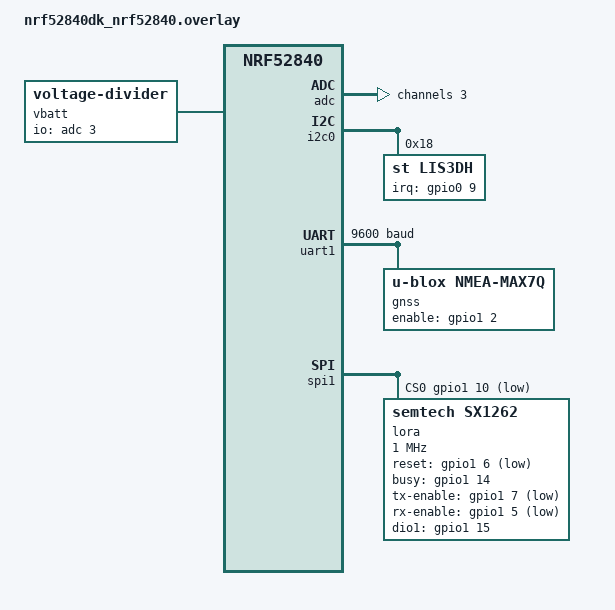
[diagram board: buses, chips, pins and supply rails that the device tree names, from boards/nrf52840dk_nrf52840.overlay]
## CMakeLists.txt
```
# SPDX-License-Identifier: Apache-2.0

cmake_minimum_required(VERSION 3.20.0)

find_package(Zephyr REQUIRED HINTS $ENV{ZEPHYR_BASE})
project(helium_mapper)

# Verify that this sample is built through sysbuild to ensure MCUboot is
# automatically included and that sample specific MCUboot configurations are
# used when building MCUboot.
test_sysbuild()

target_sources(                     app PRIVATE src/main.c)
target_sources(                     app PRIVATE src/config.c)
target_sources(                     app PRIVATE src/leds.c)
target_sources(                     app PRIVATE boards/board.c)
target_sources_ifdef(CONFIG_SENSOR          app PRIVATE src/accelerometer.c)
target_sources_ifdef(CONFIG_LORA            app PRIVATE src/lorawan_app.c)
target_sources_ifdef(CONFIG_BATTERY         app PRIVATE src/battery.c)
target_sources_ifdef(CONFIG_SETTINGS        app PRIVATE src/nvm.c)
target_sources_ifdef(CONFIG_SHELL           app PRIVATE src/shell.c)
target_sources_ifdef(CONFIG_BT              app PRIVATE src/ble.c)
target_sources_ifdef(CONFIG_UBLOX_MAX7Q     app PRIVATE src/gps.c)
target_sources_ifdef(CONFIG_GNSS            app PRIVATE src/gps_gnss.c)
target_sources_ifdef(CONFIG_PAYLOAD_ENCRYPTION     app PRIVATE src/encryption.c)

file(READ ${CMAKE_CURRENT_SOURCE_DIR}/../VERSION ver)

string(REGEX MATCH "VERSION_MAJOR = ([0-9]*)" _ ${ver})
set(APP_VERSION_MAJOR ${CMAKE_MATCH_1})

string(REGEX MATCH "VERSION_MINOR = ([0-9]*)" _ ${ver})
set(APP_VERSION_MINOR ${CMAKE_MATCH_1})

string(REGEX MATCH "VERSION_PATCH = ([0-9]*)" _ ${ver})
set(APP_VERSION_PATCH ${CMAKE_MATCH_1})

if(NOT DEFINED BUILD_VERSION)
  find_package(Git QUIET)
  if(GIT_FOUND)
    execute_process(
      COMMAND ${GIT_EXECUTABLE} describe --abbrev=12 --always
      WORKING_DIRECTORY                ${CMAKE_CURRENT_SOURCE_DIR}/../
      OUTPUT_VARIABLE                  BUILD_VERSION
      OUTPUT_STRIP_TRAILING_WHITESPACE
      ERROR_STRIP_TRAILING_WHITESPACE
      ERROR_VARIABLE                   stderr
      RESULT_VARIABLE                  return_code
    )
    if(return_code)
      message(STATUS "git describe failed: ${stderr}")
    elseif(NOT "${stderr}" STREQUAL "")
      message(STATUS "git describe warned: ${stderr}")
    endif()
  endif()
endif()

if(DEFINED BUILD_VERSION)
  set(APP_BUILD_VERSION_STR ", build: g${BUILD_VERSION}")
endif()

if (NOT NO_PRINT_VERSION)
  message(STATUS "App version: ${APP_VERSION_MAJOR}.${APP_VERSION_MINOR}.${APP_VERSION_PATCH} ${APP_BUILD_VERSION_STR}")
endif()

configure_file(app_version.h.in app_version.h)
target_include_directories(app PUBLIC "${PROJECT_BINARY_DIR}")
```

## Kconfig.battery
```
#
# SPDX-License-Identifier: Apache-2.0
#

config BATTERY
	bool "Enable battery voltage measure via ADC and R divider"
	select ADC
	help
	  Build support for battery voltage measure via ADC and R divider
```

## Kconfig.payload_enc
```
#
# SPDX-License-Identifier: Apache-2.0
#

config PAYLOAD_ENCRYPTION
	bool "Payload encryption support"
	select TINYCRYPT
	select TINYCRYPT_AES
	select TINYCRYPT_AES_CBC
	select TINYCRYPT_CTR_PRNG
	select ENTROPY
	select ENTROPY_GENERATOR
	help
	  Build with support for symmetric encryption of the LoraWan payload.
```

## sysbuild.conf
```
#
# Copyright (c) 2024 Nordic Semiconductor
#
# SPDX-License-Identifier: LicenseRef-Nordic-5-Clause
#

# Enable MCUboot per default for this sample.
SB_CONFIG_BOOTLOADER_MCUBOOT=y

SB_CONFIG_BOOT_SIGNATURE_TYPE_ED25519=y
SB_CONFIG_BOOT_SIGNATURE_TYPE_RSA=n
SB_CONFIG_BOOT_SIGNATURE_TYPE_NONE=n
SB_CONFIG_BOOT_SIGNATURE_TYPE_ECDSA_P256=n
```

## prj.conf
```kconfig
# SPDX-License-Identifier: Apache-2.0

CONFIG_LOG=y
CONFIG_SPI=y
CONFIG_GPIO=y
CONFIG_LORA=y
CONFIG_LORA_SX126X=y
CONFIG_LORAWAN=y
CONFIG_LORAMAC_REGION_EU868=y
CONFIG_MAIN_STACK_SIZE=2048
CONFIG_SYSTEM_WORKQUEUE_STACK_SIZE=2048
CONFIG_FLASH_MAP=y
CONFIG_FLASH=y
CONFIG_FLASH_PAGE_LAYOUT=y
CONFIG_SETTINGS=y
CONFIG_NVS=y

# Battery
CONFIG_BATTERY=y

## GPS
#CONFIG_UBLOX_MAX7Q=y
#CONFIG_MAX7Q_POWER_ENABLE=y
#CONFIG_UART_INTERRUPT_DRIVEN=y

# GNSS
CONFIG_GNSS=y
CONFIG_GNSS_SATELLITES=y
CONFIG_GNSS_NMEA_U_BLOX_MAX7Q=y
CONFIG_MAX7Q_POWER_ENABLE=y

CONFIG_SERIAL=y
CONFIG_CONSOLE=y
CONFIG_UART_CONSOLE=y
CONFIG_UART_LINE_CTRL=y

# Shell
CONFIG_SHELL=y
CONFIG_DATE_SHELL=y
CONFIG_DEVICE_SHELL=y
CONFIG_POSIX_TIMERS=y
CONFIG_SHELL_BACKEND_DUMMY=y

# Logging
CONFIG_LOG_CMDS=y
CONFIG_LOG_PROCESS_THREAD_STACK_SIZE=1024

# OS
CONFIG_REBOOT=y
CONFIG_HEAP_MEM_POOL_SIZE=2048

# MCUboot support
CONFIG_BOOTLOADER_MCUBOOT=y
CONFIG_IMG_MANAGER=y
CONFIG_STREAM_FLASH=y
CONFIG_MCUBOOT_IMG_MANAGER=y
CONFIG_MCUBOOT_SHELL=y

# Payload encryption
CONFIG_PAYLOAD_ENCRYPTION=y

CONFIG_PM_DEVICE=y
CONFIG_PM_DEVICE_RUNTIME=y
```

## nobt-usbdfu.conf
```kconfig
# SPDX-License-Identifier: Apache-2.0

CONFIG_LOG=y
CONFIG_SPI=y
CONFIG_GPIO=y
CONFIG_LORA=y
CONFIG_LORA_SX126X=y
CONFIG_LORAWAN=y
CONFIG_LORAMAC_REGION_EU868=y
CONFIG_MAIN_STACK_SIZE=2048
CONFIG_SYSTEM_WORKQUEUE_STACK_SIZE=2048
CONFIG_FLASH_MAP=y
CONFIG_FLASH=y
CONFIG_FLASH_PAGE_LAYOUT=y
CONFIG_SETTINGS=y
CONFIG_NVS=y

# Accelerometer
CONFIG_I2C=y
CONFIG_SENSOR=y
#CONFIG_CBPRINTF_FP_SUPPORT=y
CONFIG_LIS2DH_ODR_RUNTIME=y
CONFIG_LIS2DH_TRIGGER_OWN_THREAD=y
CONFIG_LIS2DH_OPER_MODE_LOW_POWER=y
CONFIG_LIS2DH_ACCEL_RANGE_2G=y
CONFIG_LIS2DH_ACCEL_HP_FILTERS=y
CONFIG_NFCT_PINS_AS_GPIOS=y

# Battery
CONFIG_ADC=y

# GPS
CONFIG_UBLOX_MAX7Q=y
CONFIG_MAX7Q_POWER_ENABLE=y
CONFIG_UART_INTERRUPT_DRIVEN=y

# USB CDC ACM UART
CONFIG_USB_DEVICE_STACK=y
CONFIG_USB_DEVICE_PRODUCT="Zephyr DFU Helium Mapper"
CONFIG_USB_CDC_ACM_LOG_LEVEL_WRN=y

CONFIG_SERIAL=y
CONFIG_CONSOLE=y
CONFIG_UART_CONSOLE=y
CONFIG_UART_LINE_CTRL=y

# Shell
CONFIG_SHELL=y
CONFIG_DATE_SHELL=y
CONFIG_POSIX_CLOCK=y
CONFIG_SHELL_BACKEND_DUMMY=y

# Logging
CONFIG_LOG_PROCESS_THREAD_STACK_SIZE=1024

# OS
CONFIG_REBOOT=y
CONFIG_HEAP_MEM_POOL_SIZE=2048

# MCUboot support
CONFIG_BOOTLOADER_MCUBOOT=y
CONFIG_IMG_MANAGER=y
CONFIG_STREAM_FLASH=y
CONFIG_MCUBOOT_IMG_MANAGER=y
CONFIG_MCUBOOT_SHELL=y

# DFU support
CONFIG_USB_DFU_CLASS=y
CONFIG_USB_DFU_ENABLE_UPLOAD=y
CONFIG_USB_DRIVER_LOG_LEVEL_ERR=y
CONFIG_USB_DEVICE_LOG_LEVEL_ERR=y
CONFIG_USB_DFU_REBOOT=y

# TODO: check if required
CONFIG_STDOUT_CONSOLE=y

# LoRaWan payload encryption.
CONFIG_PAYLOAD_ENCRYPTION=y
```

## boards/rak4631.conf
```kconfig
#
# USB CDC ACM UART
CONFIG_USB_DEVICE_STACK=y
CONFIG_USB_DEVICE_PRODUCT="Zephyr DFU Helium Mapper"
CONFIG_USB_CDC_ACM_LOG_LEVEL_OFF=y

# DFU support
CONFIG_USB_DFU_CLASS=y
CONFIG_USB_DFU_ENABLE_UPLOAD=y
CONFIG_USB_DRIVER_LOG_LEVEL_ERR=y
CONFIG_USB_DEVICE_LOG_LEVEL_ERR=y
CONFIG_USB_DFU_REBOOT=y

# Logging
CONFIG_LOG_BACKEND_UART=y
```

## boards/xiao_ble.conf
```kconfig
#
# USB CDC ACM UART
CONFIG_USB_DEVICE_STACK=y
CONFIG_USB_DEVICE_PRODUCT="Zephyr DFU Helium Mapper"
CONFIG_USB_CDC_ACM_LOG_LEVEL_OFF=y

# DFU support
CONFIG_USB_DFU_CLASS=y
CONFIG_USB_DFU_ENABLE_UPLOAD=y
CONFIG_USB_DRIVER_LOG_LEVEL_ERR=y
CONFIG_USB_DEVICE_LOG_LEVEL_ERR=y
CONFIG_USB_DFU_REBOOT=y
```

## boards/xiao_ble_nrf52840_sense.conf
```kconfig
#
# USB CDC ACM UART
CONFIG_USB_DEVICE_STACK=y
CONFIG_USB_DEVICE_PRODUCT="Zephyr DFU Helium Mapper"
CONFIG_USB_CDC_ACM_LOG_LEVEL_OFF=y

# DFU support
CONFIG_USB_DFU_CLASS=y
CONFIG_USB_DFU_ENABLE_UPLOAD=y
CONFIG_USB_DRIVER_LOG_LEVEL_ERR=y
CONFIG_USB_DEVICE_LOG_LEVEL_ERR=y
CONFIG_USB_DFU_REBOOT=y

# Accelerometer
CONFIG_I2C=y
CONFIG_SENSOR=y
#CONFIG_CBPRINTF_FP_SUPPORT=y
CONFIG_LSM6DSL_TRIGGER_OWN_THREAD=y
```

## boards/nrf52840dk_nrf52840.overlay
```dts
/*
 * SPDX-License-Identifier: Apache-2.0
 */

#include <zephyr/dt-bindings/lora/sx126x.h>

/ {
	chosen {
	};

	aliases {
		green-led = &led1;
		blue-led = &led2;
		accel0 = &lis3dh;
		gnss = &gnss;
		lora0 = &lora;
	};

	vbatt {
		compatible = "voltage-divider";
		io-channels = <&adc 3>;
		io-channel-names = "BATTERY";
		output-ohms = <1500000>;
		full-ohms = <(1000000 + 1500000)>;
	};
};

&adc {
	#address-cells = <1>;
	#size-cells = <0>;

	channel@3 {
		reg = <3>;
		zephyr,gain = "ADC_GAIN_1_5";
		zephyr,reference = "ADC_REF_INTERNAL";
		zephyr,acquisition-time = <ADC_ACQ_TIME(ADC_ACQ_TIME_MICROSECONDS, 40)>;
		zephyr,input-positive = <NRF_SAADC_AIN3>;
		zephyr,resolution = <14>;
		zephyr,oversampling = <8>;
	};
};

&i2c0 {
	status = "okay";

	/* ST Microelectronics LIS3DH motion sensor */
	lis3dh: lis3dh@18 {
		compatible = "st,lis3dh", "st,lis2dh";
		reg = <0x18>;
		irq-gpios = <&gpio0 9 GPIO_ACTIVE_HIGH>;
		anym-on-int1;
	};
};

&uart1 {
	compatible = "nordic,nrf-uarte";
	current-speed = <9600>;
	status = "okay";

	gnss: u_blox_max7q {
		compatible = "u-blox,nmea-max7q";
		enable-gpios = <&gpio1 2 GPIO_ACTIVE_HIGH>;
		status = "okay";
	};
};

&spi1 {
	compatible = "nordic,nrf-spi";
	status = "okay";
	cs-gpios = <&gpio1 10 GPIO_ACTIVE_LOW>;

	pinctrl-0 = <&spi1_default>;
	pinctrl-1 = <&spi1_sleep>;
	pinctrl-names = "default", "sleep";
	lora: lora@0 {
		compatible = "semtech,sx1262";
		reg = <0>;
		reset-gpios = <&gpio1 6 GPIO_ACTIVE_LOW>;
		busy-gpios = <&gpio1 14 GPIO_ACTIVE_HIGH>;
		tx-enable-gpios = <&gpio1 7 GPIO_ACTIVE_LOW>;
		rx-enable-gpios = <&gpio1 5 GPIO_ACTIVE_LOW>;
		dio1-gpios = <&gpio1 15 GPIO_ACTIVE_HIGH>;
		dio2-tx-enable;
		dio3-tcxo-voltage = <SX126X_DIO3_TCXO_3V3>;
		tcxo-power-startup-delay-ms = <5>;
		spi-max-frequency = <1000000>;
	};
};

/delete-node/ &boot_partition;
/delete-node/ &slot0_partition;
/delete-node/ &slot1_partition;

&flash0 {
	partitions {
		boot_partition: partition@0 {
			label = "mcuboot";
			reg = <0x00000000 0x00010000>;
		};
		slot0_partition: partition@10000 {
			label = "image-0";
			reg = <0x00010000 0x00072000>;
		};
		slot1_partition: partition@82000 {
			label = "image-1";
			reg = <0x00082000 0x00072000>;
		};
	};
};
```

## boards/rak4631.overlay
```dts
/*
 * SPDX-License-Identifier: Apache-2.0
 */

#include <zephyr/dt-bindings/lora/sx126x.h>

/ {
	chosen {
		/delete-property/ zephyr,uart-mcumgr;
		/* uart1 is used by GPS. */
		/delete-property/ zephyr,bt-mon-uart;
		/delete-property/ zephyr,bt-c2h-uart;

		zephyr,console = &cdc_acm_uart0;
		zephyr,shell-uart = &cdc_acm_uart0;
	};

	aliases {
		green-led = &green_led;
		blue-led = &blue_led;
		accel0 = &lis3dh;
		gps0 = &max7q;
		gnss = &gnss;
		lora0 = &lora;
	};

	vbatt {
		compatible = "voltage-divider";
		io-channels = <&adc 3>;
		io-channel-names = "BATTERY";
		output-ohms = <1500000>;
		full-ohms = <(1000000 + 1500000)>;
	};
};

&uicr {
	nfct-pins-as-gpios;
};

&adc {
	#address-cells = <1>;
	#size-cells = <0>;

	channel@3 {
		reg = <3>;
		zephyr,gain = "ADC_GAIN_1_5";
		zephyr,reference = "ADC_REF_INTERNAL";
		zephyr,acquisition-time = <ADC_ACQ_TIME(ADC_ACQ_TIME_MICROSECONDS, 40)>;
		zephyr,input-positive = <NRF_SAADC_AIN3>;
		zephyr,resolution = <14>;
		zephyr,oversampling = <8>;
	};
};

&i2c0 {
	/delete-property/ zephyr,pm-device-runtime-auto;
	status = "okay";

	/* ST Microelectronics LIS3DH motion sensor */
	lis3dh: lis3dh@18 {
		compatible = "st,lis3dh", "st,lis2dh";
		reg = <0x18>;
		irq-gpios = <&gpio0 9 GPIO_ACTIVE_HIGH>;
		anym-on-int1;
	};
};

&uart1 {
	compatible = "nordic,nrf-uarte";
	current-speed = <9600>;
	status = "okay";

	max7q: max7q {
		compatible = "u-blox,max7q";
		enable-gpios = <&gpio1 2 GPIO_ACTIVE_HIGH>;
		status = "okay";
	};

	gnss: u_blox_max7q {
		compatible = "u-blox,nmea-max7q";
		enable-gpios = <&gpio1 2 GPIO_ACTIVE_HIGH>;
		status = "okay";
	};
};

&zephyr_udc0 {
	cdc_acm_uart0: cdc_acm_uart0 {
		compatible = "zephyr,cdc-acm-uart";
	};
};

/delete-node/ &boot_partition;
/delete-node/ &slot0_partition;
/delete-node/ &slot1_partition;

&flash0 {
	partitions {
		boot_partition: partition@0 {
			label = "mcuboot";
			reg = <0x00000000 0x00010000>;
		};
		slot0_partition: partition@10000 {
			label = "image-0";
			reg = <0x00010000 0x00072000>;
		};
		slot1_partition: partition@82000 {
			label = "image-1";
			reg = <0x00082000 0x00072000>;
		};
	};
};
```

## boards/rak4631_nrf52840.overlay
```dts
/*
 * Copyright (c) 2019 Vestas Wind Systems A/S
 *
 * SPDX-License-Identifier: Apache-2.0
 */

/ {
	chosen {
		zephyr,console = &cdc_acm_uart0;
		zephyr,shell-uart = &cdc_acm_uart0;
	};

	aliases {
		green-led = &green_led;
		blue-led = &blue_led;
		accel0 = &lis3dh;
		gps0 = &max7q;
	};

	vbatt {
		compatible = "voltage-divider";
		io-channels = <&adc 3>;
		io-channel-names = "BATTERY";
		output-ohms = <1500000>;
		full-ohms = <(1000000 + 1500000)>;
	};
};

&adc {
	#address-cells = <1>;
	#size-cells = <0>;

	channel@3 {
		reg = <3>;
		zephyr,gain = "ADC_GAIN_1_5";
		zephyr,reference = "ADC_REF_INTERNAL";
		zephyr,acquisition-time = <ADC_ACQ_TIME(ADC_ACQ_TIME_MICROSECONDS, 40)>;
		zephyr,input-positive = <NRF_SAADC_AIN3>;
		zephyr,resolution = <14>;
		zephyr,oversampling = <8>;
	};
};

&i2c0 {
	status = "okay";

	/* ST Microelectronics LIS3DH motion sensor */
	lis3dh: lis3dh@18 {
		compatible = "st,lis3dh", "st,lis2dh";
		reg = <0x18>;
		irq-gpios = <&gpio0 9 GPIO_ACTIVE_HIGH>;
		anym-on-int1;
	};
};

&uart1 {
	compatible = "nordic,nrf-uarte";
	status = "okay";
	current-speed = <9600>;

	max7q: max7q {
		compatible = "u-blox,max7q";
		status = "okay";
		enable-gpios = <&gpio1 2 GPIO_ACTIVE_HIGH>;
	};
};

&zephyr_udc0 {
	cdc_acm_uart0: cdc_acm_uart0 {
		compatible = "zephyr,cdc-acm-uart";
	};
};

&boot_partition {
	reg = <0x00000000 0x00010000>;
};

&slot0_partition {
	reg = <0x00010000 0x00072000>;
};

&slot1_partition {
	reg = <0x00082000 0x00072000>;
};
```

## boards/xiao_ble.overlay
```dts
/*
 * SPDX-License-Identifier: Apache-2.0
 */

#include <zephyr/dt-bindings/lora/sx126x.h>

/ {
	chosen {
		/delete-property/ zephyr,uart-mcumgr;
		/delete-property/ zephyr,bt-mon-uart;
		/delete-property/ zephyr,bt-c2h-uart;

		zephyr,console = &cdc_acm_uart0;
		zephyr,shell-uart = &cdc_acm_uart0;
		zephyr,code-partition = &slot0_partition;
	};

	aliases {
		green-led = &led1;
		blue-led = &led2;
		//accel0 = &lis3dh;
		gps0 = &max7q;
		gnss = &gnss;
		lora0 = &lora;
	};

	vbatt {
		compatible = "voltage-divider";
		io-channels = <&adc 7>;
		io-channel-names = "BATTERY";
		output-ohms = <510000>;
		full-ohms = <(1000000 + 510000)>;
		power-gpios = <&gpio0 14 GPIO_ACTIVE_LOW>;
	};
};

&uicr {
	nfct-pins-as-gpios;
};

&adc {
	#address-cells = <1>;
	#size-cells = <0>;

	channel@7 {
		reg = <7>;
		zephyr,gain = "ADC_GAIN_1_5";
		zephyr,reference = "ADC_REF_INTERNAL";
		zephyr,acquisition-time = <ADC_ACQ_TIME(ADC_ACQ_TIME_MICROSECONDS, 40)>;
		zephyr,input-positive = <NRF_SAADC_AIN7>; // P0.31
		zephyr,resolution = <14>;
		zephyr,oversampling = <8>;
	};
};

&i2c0 {
	/delete-property/ zephyr,pm-device-runtime-auto;
	//status = "okay";
	status = "disabled";

	/* ST Microelectronics LIS3DH motion sensor */
/*
	lis3dh: lis3dh@18 {
		compatible = "st,lis3dh", "st,lis2dh";
		reg = <0x18>;
		irq-gpios = <&gpio0 9 GPIO_ACTIVE_HIGH>;
		anym-on-int1;
	};
*/
};

&i2c1 {
	/* Cannot be used together with spi1. */
	status = "disabled";
};

&uart0 {
	compatible = "nordic,nrf-uarte";
	current-speed = <9600>;
	status = "okay";

	max7q: max7q {
		compatible = "u-blox,max7q";
		enable-gpios = <&gpio1 2 GPIO_ACTIVE_HIGH>;
		status = "okay";
	};

	gnss: u_blox_max7q {
		compatible = "u-blox,nmea-max7q";
		enable-gpios = <&gpio0 2 GPIO_ACTIVE_HIGH>;
		status = "okay";
	};
};

&spi2 {
	compatible = "nordic,nrf-spi";
	status = "okay";
	cs-gpios = <&gpio0 4 GPIO_ACTIVE_LOW>;

	pinctrl-0 = <&spi2_default>;
	pinctrl-1 = <&spi2_sleep>;
	pinctrl-names = "default", "sleep";
	lora: lora@0 {
		compatible = "semtech,sx1262";
		reg = <0>;
		reset-gpios = <&gpio0 28 GPIO_ACTIVE_LOW>;
		busy-gpios = <&gpio0 29 GPIO_ACTIVE_HIGH>;
		rx-enable-gpios = <&gpio0 5 GPIO_ACTIVE_LOW>;
		dio1-gpios = <&gpio0 3 GPIO_ACTIVE_HIGH>;
		dio3-tcxo-voltage = <SX126X_DIO3_TCXO_3V3>;
		tcxo-power-startup-delay-ms = <5>;
		spi-max-frequency = <1000000>;
	};
};

&zephyr_udc0 {
	cdc_acm_uart0: cdc_acm_uart0 {
		compatible = "zephyr,cdc-acm-uart";
	};
};

/delete-node/ &reserved_partition_0;
/delete-node/ &code_partition;
/delete-node/ &storage_partition;
/delete-node/ &boot_partition;

&flash0 {
	partitions {
		boot_partition: partition@0 {
			label = "mcuboot";
			reg = <0x00000000 0x00011000>;
		};
		slot0_partition: partition@10000 {
			label = "image-0";
			reg = <0x00011000 0x00071000>;
		};
		slot1_partition: partition@82000 {
			label = "image-1";
			reg = <0x00082000 0x00071000>;
		};
		storage_partition: partition@f8000 {
			label = "storage";
			reg = <0x000f8000 0x00008000>;
		};
	};
};
```

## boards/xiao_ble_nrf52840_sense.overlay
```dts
/*
 * SPDX-License-Identifier: Apache-2.0
 */

#include <zephyr/dt-bindings/lora/sx126x.h>

/ {
	chosen {
		/delete-property/ zephyr,uart-mcumgr;
		/delete-property/ zephyr,bt-mon-uart;
		/delete-property/ zephyr,bt-c2h-uart;

		zephyr,console = &cdc_acm_uart0;
		zephyr,shell-uart = &cdc_acm_uart0;
		zephyr,code-partition = &slot0_partition;
	};

	aliases {
		green-led = &led1;
		blue-led = &led2;
		accel0 = &lsm6ds3tr_c;
		gps0 = &max7q;
		gnss = &gnss;
		lora0 = &lora;
	};

	vbatt {
		compatible = "voltage-divider";
		io-channels = <&adc 7>;
		io-channel-names = "BATTERY";
		output-ohms = <510000>;
		full-ohms = <(1000000 + 510000)>;
		power-gpios = <&gpio0 14 GPIO_ACTIVE_LOW>;
	};
};

&uicr {
	nfct-pins-as-gpios;
};

&adc {
	#address-cells = <1>;
	#size-cells = <0>;

	channel@7 {
		reg = <7>;
		zephyr,gain = "ADC_GAIN_1_5";
		zephyr,reference = "ADC_REF_INTERNAL";
		zephyr,acquisition-time = <ADC_ACQ_TIME(ADC_ACQ_TIME_MICROSECONDS, 40)>;
		zephyr,input-positive = <NRF_SAADC_AIN7>; // P0.31
		zephyr,resolution = <14>;
		zephyr,oversampling = <8>;
	};
};

&i2c1 {
	/* Cannot be used together with spi1. */
	status = "disabled";
};

&uart0 {
	compatible = "nordic,nrf-uarte";
	current-speed = <9600>;
	status = "okay";

	max7q: max7q {
		compatible = "u-blox,max7q";
		enable-gpios = <&gpio1 2 GPIO_ACTIVE_HIGH>;
		status = "okay";
	};

	gnss: u_blox_max7q {
		compatible = "u-blox,nmea-max7q";
		enable-gpios = <&gpio0 2 GPIO_ACTIVE_HIGH>;
		status = "okay";
	};
};

&spi2 {
	compatible = "nordic,nrf-spi";
	status = "okay";
	cs-gpios = <&gpio0 4 GPIO_ACTIVE_LOW>;

	pinctrl-0 = <&spi2_default>;
	pinctrl-1 = <&spi2_sleep>;
	pinctrl-names = "default", "sleep";
	lora: lora@0 {
		compatible = "semtech,sx1262";
		reg = <0>;
		reset-gpios = <&gpio0 28 GPIO_ACTIVE_LOW>;
		busy-gpios = <&gpio0 29 GPIO_ACTIVE_HIGH>;
		rx-enable-gpios = <&gpio0 5 GPIO_ACTIVE_LOW>;
		dio1-gpios = <&gpio0 3 GPIO_ACTIVE_HIGH>;
		dio3-tcxo-voltage = <SX126X_DIO3_TCXO_3V3>;
		tcxo-power-startup-delay-ms = <5>;
		spi-max-frequency = <1000000>;
	};
};

&zephyr_udc0 {
	cdc_acm_uart0: cdc_acm_uart0 {
		compatible = "zephyr,cdc-acm-uart";
	};
};

/delete-node/ &reserved_partition_0;
/delete-node/ &code_partition;
/delete-node/ &storage_partition;
/delete-node/ &boot_partition;

&flash0 {
	partitions {
		boot_partition: partition@0 {
			label = "mcuboot";
			reg = <0x00000000 0x00011000>;
		};
		slot0_partition: partition@10000 {
			label = "image-0";
			reg = <0x00011000 0x00071000>;
		};
		slot1_partition: partition@82000 {
			label = "image-1";
			reg = <0x00082000 0x00071000>;
		};
		storage_partition: partition@f8000 {
			label = "storage";
			reg = <0x000f8000 0x00008000>;
		};
	};
};
```

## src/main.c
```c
/*
 * Helium mapper sample application
 *
 * SPDX-License-Identifier: Apache-2.0
 */

#include <stdio.h>
#include <stdlib.h>
#include <assert.h>
#include <zephyr/kernel.h>
#include <zephyr/sys/reboot.h>
#include <zephyr/sys/printk.h>
#if IS_ENABLED(CONFIG_USB_DEVICE_STACK)
#include <zephyr/usb/usb_device.h>
#endif
#include <zephyr/drivers/uart.h>

#include "config.h"
#include "leds.h"
#include "lorawan_app.h"
#if IS_ENABLED(CONFIG_BATTERY)
#include "battery.h"
#endif
#include "nvm.h"
#if IS_ENABLED(CONFIG_UBLOX_MAX7Q)
#include "gps.h"
#endif
#if IS_ENABLED(CONFIG_GNSS)
#include "gps_gnss.h"
#endif
#if IS_ENABLED(CONFIG_SENSOR)
#include "accelerometer.h"
#endif
#if IS_ENABLED(CONFIG_SHELL)
#include "shell.h"
#endif
#if IS_ENABLED(CONFIG_BT)
#include "ble.h"
#endif
#if IS_ENABLED(CONFIG_PAYLOAD_ENCRYPTION)
#include "encryption.h"
#endif

#define LOG_LEVEL CONFIG_LOG_DEFAULT_LEVEL
#include <zephyr/logging/log.h>
LOG_MODULE_REGISTER(helium_mapper);

struct s_helium_mapper_ctx {
	const struct device *lora_dev;
	struct k_timer send_timer;
	struct k_timer delayed_timer;
	struct k_timer gps_off_timer;
};

struct s_helium_mapper_ctx g_ctx;

/* Event FIFO */

K_FIFO_DEFINE(evt_fifo);

enum evt_t {
	EV_TIMER,
	EV_ACC,
	EV_GPS_FIX,
	EV_NMEA_TRIG_ENABLE,
	EV_NMEA_TRIG_DISABLE,
};

struct app_evt_t {
	sys_snode_t node;
	enum evt_t event_type;
};

#define FIFO_ELEM_MIN_SZ        sizeof(struct app_evt_t)
#define FIFO_ELEM_MAX_SZ        sizeof(struct app_evt_t)
#define FIFO_ELEM_COUNT         10
#define FIFO_ELEM_ALIGN         sizeof(unsigned int)

K_HEAP_DEFINE(event_elem_pool, FIFO_ELEM_MAX_SZ * FIFO_ELEM_COUNT + 256);

static inline void app_evt_free(struct app_evt_t *ev)
{
	k_heap_free(&event_elem_pool, ev);
}

static inline void app_evt_put(struct app_evt_t *ev)
{
	k_fifo_put(&evt_fifo, ev);
}

static inline struct app_evt_t *app_evt_get(void)
{
	return k_fifo_get(&evt_fifo, K_NO_WAIT);
}

static inline void app_evt_flush(void)
{
	struct app_evt_t *ev;

	do {
		ev = app_evt_get();
		if (ev) {
			app_evt_free(ev);
		}
	} while (ev != NULL);
}

static inline struct app_evt_t *app_evt_alloc(void)
{
	struct app_evt_t *ev;

	ev = k_heap_alloc(&event_elem_pool,
			  sizeof(struct app_evt_t),
			  K_NO_WAIT);
	if (ev == NULL) {
		LOG_ERR("APP event allocation failed!");
		app_evt_flush();

		ev = k_heap_alloc(&event_elem_pool,
				  sizeof(struct app_evt_t),
				  K_NO_WAIT);
		if (ev == NULL) {
			LOG_ERR("APP event memory corrupted.");
			__ASSERT_NO_MSG(0);
			return NULL;
		}
		return NULL;
	}

	return ev;
}

static K_SEM_DEFINE(evt_sem, 0, 1);	/* starts off "not available" */

void update_gps_off_timer(struct s_helium_mapper_ctx *ctx) {
	uint32_t timeout = config_get_max_gps_on_time();

	LOG_INF("GPS off timer start for %d sec", timeout);

	k_timer_start(&ctx->gps_off_timer, K_SECONDS(timeout), K_NO_WAIT);
}

void update_send_timer(struct s_helium_mapper_ctx *ctx) {
	uint32_t time = config_get_send_repeat_time();

	if (time) {
		LOG_INF("Send interval timer start for %d sec", time);
		k_timer_start(&ctx->send_timer,
				K_SECONDS(time),
				K_SECONDS(time));
	}
}

static void send_timer_handler(struct k_timer *timer)
{
	struct app_evt_t *ev;

	LOG_INF("Timer handler");

	ev = app_evt_alloc();
	ev->event_type = EV_TIMER;
	app_evt_put(ev);
	k_sem_give(&evt_sem);
}

static void delayed_timer_handler(struct k_timer *timer)
{
	struct app_evt_t *ev;

	LOG_INF("Delayed timer handler");

	status_set_delayed_active(false);

	ev = app_evt_alloc();
	ev->event_type = EV_NMEA_TRIG_ENABLE;
	app_evt_put(ev);
	k_sem_give(&evt_sem);
}

static void gps_off_timer_handler(struct k_timer *timer)
{
	struct app_evt_t *ev;

	LOG_INF("GPS off timer handler");

#if IS_ENABLED(CONFIG_UBLOX_MAX7Q)
	gps_enable(GPS_DISABLE);
#endif
#if IS_ENABLED(CONFIG_GNSS)
	gnss_enable(GPS_DISABLE);
#endif

	ev = app_evt_alloc();
	ev->event_type = EV_NMEA_TRIG_DISABLE;
	app_evt_put(ev);
	k_sem_give(&evt_sem);
}

#if IS_ENABLED(CONFIG_UBLOX_MAX7Q)
static void gps_trigger_handler(const struct device *dev,
		const struct sensor_trigger *trig)
{
	struct app_evt_t *ev;

	LOG_INF("GPS trigger handler");

	/** Disable NMEA trigger after successful location fix */
	nmea_trigger_enable(GPS_TRIG_DISABLE);

	ev = app_evt_alloc();
	ev->event_type = EV_GPS_FIX;
	app_evt_put(ev);
	k_sem_give(&evt_sem);
}
#endif

#if IS_ENABLED(CONFIG_GNSS)
static void gnss_fix_handler(void)
{
	struct app_evt_t *ev;

	LOG_INF("GPS fix handler");

	/** Disable GNSS trigger after successful location fix */
	gnss_trigger_set(GPS_TRIG_DISABLE);

	ev = app_evt_alloc();
	ev->event_type = EV_GPS_FIX;
	app_evt_put(ev);
	k_sem_give(&evt_sem);
}
#endif

#if IS_ENABLED(CONFIG_LSM6DSL_TRIGGER)
static void accel_trigger_handler(const struct device *dev,
		const struct sensor_trigger *trig)
{
	struct app_evt_t *ev;

	LOG_INF("ACC trigger handler");

	/* bounce very "touchy" accell sensor */
	if ((k_uptime_get_32() - status_get_last_accel_event()) < 5000) {
		return;
	}
	status_set_last_accel_event(k_uptime_get_32());
	status_inc_acc_events();

	ev = app_evt_alloc();
	ev->event_type = EV_ACC;
	app_evt_put(ev);
	k_sem_give(&evt_sem);
}
#endif

void init_timers(struct s_helium_mapper_ctx *ctx)
{
	k_timer_init(&ctx->send_timer, send_timer_handler, NULL);
	k_timer_init(&ctx->delayed_timer, delayed_timer_handler, NULL);
	k_timer_init(&ctx->gps_off_timer, gps_off_timer_handler, NULL);

	update_send_timer(ctx);
}

void send_event(struct s_helium_mapper_ctx *ctx) {
	time_t min_delay = config_get_send_min_delay() * 1000;
	time_t last_pos_send = status_get_last_pos_send();
	struct app_evt_t *ev;

	if (!status_is_joined()) {
		LOG_WRN("Not joined");
		return;
	}

	if (!config_get_send_repeat_time()) {
		LOG_WRN("Periodic send is disabled");
		return;
	}

	if (status_get_delayed_active()) {
		time_t time_left = k_timer_remaining_get(&ctx->delayed_timer);
		LOG_INF("Delayed timer already active, %lld sec left",
				time_left / 1000);
		return;
	}

	if ((k_uptime_get_32() - last_pos_send) > min_delay) {
		/* Enable NMEA trigger and wait for location fix */
		ev = app_evt_alloc();
		ev->event_type = EV_NMEA_TRIG_ENABLE;
		app_evt_put(ev);
		k_sem_give(&evt_sem);
	} else {
		time_t now_ms = k_uptime_get_32();
		time_t wait_time =
			abs(min_delay - (now_ms - last_pos_send) >= 0)
			? (min_delay - (now_ms - last_pos_send)) : min_delay;

		LOG_INF("Delayed timer start for %lld sec", wait_time / 1000);
		k_timer_start(&ctx->delayed_timer, K_MSEC(wait_time), K_NO_WAIT);
		status_set_delayed_active(true);
	}
}

#if IS_ENABLED(CONFIG_SHELL)
void shell_cb(enum shell_cmd_event event, void *data) {
	struct s_helium_mapper_ctx *ctx = (struct s_helium_mapper_ctx *)data;

	switch (event) {
	case SHELL_CMD_SEND_TIMER_SET:
		update_send_timer(ctx);
		break;
	case SHELL_CMD_SEND_TIMER_GET:
		time_t time_st_left = k_timer_remaining_get(&ctx->send_timer);
		LOG_INF("Send timer %lld sec left", time_st_left / 1000);
		break;
	default:
		LOG_WRN("Unknown shell cmd event");
		break;
	} /* switch */
}
#endif

void app_evt_handler(struct app_evt_t *ev, struct s_helium_mapper_ctx *ctx)
{
	switch (ev->event_type) {
	case EV_TIMER:
		LOG_INF("Event Timer");
		send_event(ctx);
		break;

	case EV_ACC:
		LOG_INF("Event ACC");
#if IS_ENABLED(CONFIG_SENSOR)
		print_accels();
#endif
		send_event(ctx);
		break;

	case EV_NMEA_TRIG_ENABLE:
		LOG_INF("Event NMEA_TRIG_ENABLE");
#if IS_ENABLED(CONFIG_UBLOX_MAX7Q)
		nmea_trigger_enable(GPS_TRIG_ENABLE);
#endif
#if IS_ENABLED(CONFIG_GNSS)
		gnss_trigger_set(GPS_TRIG_ENABLE);
#endif
		update_gps_off_timer(ctx);
		break;

	case EV_NMEA_TRIG_DISABLE:
		LOG_INF("Event NMEA_TRIG_DISABLE");
#if IS_ENABLED(CONFIG_UBLOX_MAX7Q)
		nmea_trigger_enable(GPS_TRIG_DISABLE);
#endif
#if IS_ENABLED(CONFIG_GNSS)
		gnss_trigger_set(GPS_TRIG_DISABLE);
#endif
		/* If we aren't able to get gps fix during the whole
		   GPS ON Interval, send lora message with other telemetry
		   data and old position data if available.
		*/
#if IS_ENABLED(CONFIG_LORA)
		if (!status_get_gps_fix()) {
			lora_send_msg();
		}
#endif
		break;

	case EV_GPS_FIX:
		LOG_INF("Event GPS_FIX");
		status_set_gps_fix(true);
#if IS_ENABLED(CONFIG_LORA)
		lora_send_msg();
#endif
		break;

	default:
		LOG_ERR("Unknown event");
		break;

	} /* switch */
}

int main(void)
{
	struct s_helium_mapper_ctx *ctx = &g_ctx;
	enum init_error_t err_num;
	struct app_evt_t *ev;
	int ret;

	LOG_INF("Main start");

	ret = init_leds();
	if (ret) {
		return ret;
	}

#if IS_ENABLED(CONFIG_SETTINGS)
	ret = load_config();
	if (ret) {
		status_set_boot_status(ERROR_CONFIG);
		goto fail;
	}
#endif

	init_timers(ctx);

#if IS_ENABLED(CONFIG_BT)
	ret = init_ble();
	if (ret) {
		err_num = ERROR_BLE;
		goto fail;
	}
#endif

#if IS_ENABLED(CONFIG_SENSOR)
	ret = init_accel();
	if (ret) {
		status_set_boot_status(ERROR_ACCEL);
		goto fail;
	}
#if IS_ENABLED(CONFIG_LSM6DSL_TRIGGER)
	ret = accel_set_trigger_handler(accel_trigger_handler);
	if (ret) {
		LOG_ERR("accel_set_trigger_handler failed");
		status_set_boot_status(ERROR_ACCEL_TRIGGER);
		goto fail;
	}
#endif
#endif

#if IS_ENABLED(CONFIG_UBLOX_MAX7Q)
	ret = init_gps();
	if (ret) {
		LOG_ERR("init_gps failed");
		status_set_boot_status(ERROR_GPS);
		goto fail;
	}

	ret = gps_set_trigger_handler(gps_trigger_handler);
	if (ret) {
		LOG_ERR("gps_set_trigger_handler  failed");
		status_set_boot_status(ERROR_GPS_TRIGGER);
		goto fail;
	}
#endif

#if IS_ENABLED(CONFIG_GNSS)
	ret = init_gps_gnss(gnss_fix_handler);
	if (ret) {
		LOG_ERR("init_gps_gnss failed");
		status_set_boot_status(ERROR_GPS);
		goto fail;
	}
#endif

#if IS_ENABLED(CONFIG_USB_DEVICE_STACK)
	ret = usb_enable(NULL);
	if (ret && ret != -EALREADY) {
		status_set_boot_status(ERROR_USB);
		goto fail;
	}
#endif

#if IS_ENABLED(CONFIG_SHELL)
	ret = init_shell();
	if (ret) {
		status_set_boot_status(ERROR_SHELL);
		goto fail;
	}

	shell_register_cb(shell_cb, ctx);
#endif

#if IS_ENABLED(CONFIG_PAYLOAD_ENCRYPTION)
	ret = init_encryption();
	if (ret) {
		status_set_boot_status(ERROR_ENCRYPTION);
		goto fail;
	}
#endif

#if IS_ENABLED(CONFIG_LORA)
	ret = init_lora();
	if (ret) {
		LOG_ERR("Rebooting in 30 sec.");
		k_sleep(K_SECONDS(30));
		sys_reboot(SYS_REBOOT_WARM);
		status_set_boot_status(ERROR_LORA);
		goto fail;
	}
#endif

	status_set_boot_status(BOOT_COMPLETE);
	LOG_INF("%s", init_error_to_string(BOOT_COMPLETE));

	while (true) {
		LOG_INF("Waiting for events...");

		k_sem_take(&evt_sem, K_FOREVER);

		while ((ev = app_evt_get()) != NULL) {
			app_evt_handler(ev, ctx);
			app_evt_free(ev);
		}
	}

fail:
	err_num = status_get_boot_status();
	if (err_num != BOOT_COMPLETE)
	{
		LOG_ERR("App init fail: %s", init_error_to_string(err_num));
	}

	while (true) {
		led_error(LED_OFF);
		k_sleep(K_MSEC(250));
		led_error(LED_ON);
		k_sleep(K_SECONDS(1));
	}

	return 0;
}
```

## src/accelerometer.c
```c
/*
 * SPDX-License-Identifier: Apache-2.0
 */

#include <zephyr/device.h>

#include "config.h"
#include "accelerometer.h"

#define LOG_LEVEL CONFIG_LOG_DEFAULT_LEVEL
#include <zephyr/logging/log.h>
LOG_MODULE_REGISTER(helium_mapper_accel);

const struct device *dev;

int print_accels(void)
{
	int err;
	struct s_accel_values accel[3] = {
		{.sign = ""},
		{.sign = ""},
		{.sign = ""}
	};

	err = sensor_sample_fetch_chan(dev, SENSOR_CHAN_ACCEL_XYZ);
	if (err < 0) {
		LOG_ERR("%s: sensor_sample_fetch() failed: %d", dev->name, err);
		return err;
	}

	for (size_t i = 0; i < ARRAY_SIZE(channels); i++) {
		err = sensor_channel_get(dev, channels[i], &accel[i].val);
		if (err < 0) {
			LOG_ERR("%s: sensor_channel_get(%c) failed: %d\n",
					dev->name, 'X' + i, err);
			return err;
		}
		if ((accel[i].val.val1 < 0) || (accel[i].val.val2 < 0)) {
			accel[i].sign = "-";
			accel[i].val.val1 = abs(accel[i].val.val1);
			accel[i].val.val2 = abs(accel[i].val.val2);
		}
	}

	LOG_INF("%s: %d, %s%d.%06d, %s%d.%06d, %s%d.%06d (m/s^2)",
		dev->name, status_get_acc_events(),
		accel[0].sign, accel[0].val.val1, accel[0].val.val2,
		accel[1].sign, accel[1].val.val1, accel[1].val.val2,
		accel[2].sign, accel[2].val.val1, accel[2].val.val2);

	return 0;
}

int accel_set_trigger_handler(sensor_trigger_handler_t handler)
{
	int err = 0;
	struct sensor_trigger trig;
	enum sensor_channel chan = SENSOR_CHAN_ACCEL_XYZ;

	struct sensor_value attr = {
		.val1 = 0,
		.val2 = 0,
	};

	// Acceleration in m/s^2
	attr.val1 = 20;
	err = sensor_attr_set(dev, chan,
			SENSOR_ATTR_FULL_SCALE,
			&attr);
	if (err != 0) {
		LOG_ERR("Failed to set scale: %d", err);
		return err;
	}
	LOG_INF("Acceleration in %d.%d m/s^2", attr.val1, attr.val2);

	// Sampling frequency in Hz
	attr.val1 = 416;
	err = sensor_attr_set(dev, chan,
			SENSOR_ATTR_SAMPLING_FREQUENCY,
			&attr);
	if (err != 0) {
		LOG_ERR("Failed to set odr: %d", err);
		return err;
	}
	LOG_INF("Sampling at %u Hz", attr.val1);

	trig.type = SENSOR_TRIG_DATA_READY;
	trig.chan = chan;

	err = sensor_trigger_set(dev, &trig, handler);
	if (err != 0) {
		LOG_ERR("Failed to set trigger: %d", err);
	}

	return err;
}

int init_accel(void)
{
	dev = DEVICE_DT_GET(DT_ALIAS(accel0));
	if (!device_is_ready(dev)) {
		LOG_ERR("%s: device not ready.", dev->name);
		return -ENODEV;
	}

	print_accels();

	return 0;
}
```

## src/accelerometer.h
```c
/*
 * SPDX-License-Identifier: Apache-2.0
 */

#ifndef _APP_ACCEL_H_
#define _APP_ACCEL_H_

#include <zephyr/drivers/sensor.h>

static const enum sensor_channel channels[] = {
	SENSOR_CHAN_ACCEL_X,
	SENSOR_CHAN_ACCEL_Y,
	SENSOR_CHAN_ACCEL_Z,
};

struct s_accel_values {
	struct sensor_value val;
	const char *sign;
};

int init_accel(void);
int accel_set_trigger_handler(sensor_trigger_handler_t handler);
int print_accels(void);

#endif // _APP_ACCEL_H_
```

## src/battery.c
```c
/*
 * Copyright (c) 2018-2019 Peter Bigot Consulting, LLC
 * Copyright (c) 2019-2020 Nordic Semiconductor ASA
 *
 * SPDX-License-Identifier: Apache-2.0
 */

#include <math.h>
#include <stdio.h>
#include <stdlib.h>

#include <zephyr/kernel.h>
#include <zephyr/init.h>
#include <zephyr/drivers/gpio.h>
#include <zephyr/drivers/adc.h>
#include <zephyr/drivers/sensor.h>
#include <zephyr/logging/log.h>

#include "battery.h"

LOG_MODULE_REGISTER(battery, CONFIG_ADC_LOG_LEVEL);

#define VBATT DT_PATH(vbatt)
#define ZEPHYR_USER DT_PATH(zephyr_user)

struct divider_config {
	struct gpio_dt_spec power_gpios;
	/* output_ohm is used as a flag value: if it is nonzero then
	 * the battery is measured through a voltage divider;
	 * otherwise it is assumed to be directly connected to Vdd.
	 */
	uint32_t output_ohm;
	uint32_t full_ohm;
};

struct divider_data {
	const struct device *adc;
	struct adc_dt_spec adc_channel;
	struct adc_channel_cfg adc_cfg;
	struct adc_sequence adc_seq;
	int16_t raw;
};

#if DT_NODE_EXISTS(VBATT) && \
	DT_NODE_HAS_PROP(VBATT, io_channels)

static const struct divider_config divider_config = {
	.power_gpios = GPIO_DT_SPEC_GET_OR(VBATT, power_gpios, {}),
	.output_ohm = DT_PROP(VBATT, output_ohms),
	.full_ohm = DT_PROP(VBATT, full_ohms),
};

static struct divider_data divider_data = {
	.adc_channel = ADC_DT_SPEC_GET_BY_IDX(VBATT, 0),
};

#else
#if DT_NODE_EXISTS(ZEPHYR_USER) && \
	DT_NODE_HAS_PROP(ZEPHYR_USER, io_channels)

static const struct divider_config divider_config;

static struct divider_data divider_data = {
	.adc_channel = ADC_DT_SPEC_GET_BY_IDX(ZEPHYR_USER, 0),
};

#else
#error "No suitable devicetree overlay specified, vbatt or zephyr,user"
#endif	/* zephyr_user */
#endif	/* vbatt */

static int divider_setup(void)
{
	const struct divider_config *cfg = &divider_config;
	const struct gpio_dt_spec *gcp = &cfg->power_gpios;
	struct divider_data *ddp = &divider_data;
	const struct device *adc_dev = ddp->adc_channel.dev;
	struct adc_sequence *asp = &ddp->adc_seq;
	int rc;

	if (!device_is_ready(adc_dev)) {
		LOG_ERR("ADC device is not ready %s", adc_dev->name);
		return -ENOENT;
	}

	if (gcp->port) {
		if (!device_is_ready(gcp->port)) {
			LOG_ERR("%s: device not ready", gcp->port->name);
			return -ENOENT;
		}
		rc = gpio_pin_configure_dt(gcp, GPIO_OUTPUT_INACTIVE);
		if (rc != 0) {
			LOG_ERR("Failed to control feed %s.%u: %d",
				gcp->port->name, gcp->pin, rc);
			return rc;
		}
	}

	*asp = (struct adc_sequence){
		.buffer = &ddp->raw,
		.buffer_size = sizeof(ddp->raw),
		.oversampling = 4,
		.calibrate = true,
	};

	rc = adc_channel_setup_dt(&ddp->adc_channel);
	if (rc < 0) {
		LOG_ERR("Could not setup channel #%d (%d)",
				ddp->adc_channel.channel_id, rc);
		return rc;
	}

	rc = adc_sequence_init_dt(&ddp->adc_channel, asp);
	if (rc < 0) {
		LOG_ERR("Could not init sequence on channel #%d (%d)",
				ddp->adc_channel.channel_id, rc);
		return rc;
	}

	LOG_DBG("%s, setup channel #%d (%d)", adc_dev->name,
			ddp->adc_channel.channel_id, rc);

	return rc;
}

static bool battery_ok;

static int battery_setup(void)
{
	int rc = divider_setup();

	battery_ok = (rc == 0);
	LOG_DBG("Battery setup: %d %d", rc, battery_ok);
	return rc;
}

SYS_INIT(battery_setup, APPLICATION, CONFIG_APPLICATION_INIT_PRIORITY);

int battery_measure_enable(bool enable)
{
	int rc = -ENOENT;

	if (battery_ok) {
		const struct gpio_dt_spec *gcp = &divider_config.power_gpios;

		rc = 0;
		if (gcp->port) {
			rc = gpio_pin_set_dt(gcp, enable);
		}
	}
	return rc;
}

int battery_sample(void)
{
	int rc = -ENOENT;

	if (battery_ok) {
		struct divider_data *ddp = &divider_data;
		const struct device *adc_dev = ddp->adc_channel.dev;
		const struct divider_config *dcp = &divider_config;
		struct adc_sequence *sp = &ddp->adc_seq;
		int32_t val_mv;

		rc = adc_read(adc_dev, sp);
		if (rc < 0) {
			return rc;
		}

		val_mv = ddp->raw;
		sp->calibrate = false;

		rc = adc_raw_to_millivolts_dt(&ddp->adc_channel, &val_mv);
		if (rc < 0) {
			LOG_ERR("value in mV not available (%d)", rc);
			return rc;
		}

		if (dcp->output_ohm != 0) {
			rc = val_mv * (uint64_t)dcp->full_ohm
				/ dcp->output_ohm;
			LOG_DBG("raw (0x%x) %u ~ %u mV => %d mV",
					ddp->raw, ddp->raw, val_mv, rc);
		} else {
			rc = val_mv;
			LOG_DBG("raw (0x%x) %u ~ %u mV",
					ddp->raw, ddp->raw, val_mv);
		}
	}

	return rc;
}

unsigned int battery_level_pptt(unsigned int batt_mV,
				const struct battery_level_point *curve)
{
	const struct battery_level_point *pb = curve;

	if (batt_mV >= pb->lvl_mV) {
		/* Measured voltage above highest point, cap at maximum. */
		return pb->lvl_pptt;
	}
	/* Go down to the last point at or below the measured voltage. */
	while ((pb->lvl_pptt > 0)
	       && (batt_mV < pb->lvl_mV)) {
		++pb;
	}
	if (batt_mV < pb->lvl_mV) {
		/* Below lowest point, cap at minimum */
		return pb->lvl_pptt;
	}

	/* Linear interpolation between below and above points. */
	const struct battery_level_point *pa = pb - 1;

	return pb->lvl_pptt
	       + ((pa->lvl_pptt - pb->lvl_pptt)
		  * (batt_mV - pb->lvl_mV)
		  / (pa->lvl_mV - pb->lvl_mV));
}

int read_battery(int *batt)
{
	int err;
	int batt_mV;

	err = battery_measure_enable(true);
	if (err != 0) {
		LOG_ERR("Failed initialize battery measurement: %d", err);
		return err;
	}
	batt_mV = battery_sample();
	if (batt_mV < 0) {
		LOG_ERR("Failed to read battery voltage: %d", batt_mV);
		return batt_mV;
	}

	unsigned int batt_pptt = battery_level_pptt(batt_mV, levels);
	LOG_DBG("Battery: %d mV; %u pptt", batt_mV, batt_pptt);
	battery_measure_enable(false);

	*batt = batt_mV;

	return 0;
}
```

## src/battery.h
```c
/*
 * Copyright (c) 2018-2019 Peter Bigot Consulting, LLC
 *
 * SPDX-License-Identifier: Apache-2.0
 */

#ifndef APPLICATION_BATTERY_H_
#define APPLICATION_BATTERY_H_

/** Enable or disable measurement of the battery voltage.
 *
 * @param enable true to enable, false to disable
 *
 * @return zero on success, or a negative error code.
 */
int battery_measure_enable(bool enable);

/** Measure the battery voltage.
 *
 * @return the battery voltage in millivolts, or a negative error
 * code.
 */
int battery_sample(void);

/** A point in a battery discharge curve sequence.
 *
 * A discharge curve is defined as a sequence of these points, where
 * the first point has #lvl_pptt set to 10000 and the last point has
 * #lvl_pptt set to zero.  Both #lvl_pptt and #lvl_mV should be
 * monotonic decreasing within the sequence.
 */
struct battery_level_point {
	/** Remaining life at #lvl_mV. */
	uint16_t lvl_pptt;

	/** Battery voltage at #lvl_pptt remaining life. */
	uint16_t lvl_mV;
};

/** Calculate the estimated battery level based on a measured voltage.
 *
 * @param batt_mV a measured battery voltage level.
 *
 * @param curve the discharge curve for the type of battery installed
 * on the system.
 *
 * @return the estimated remaining capacity in parts per ten
 * thousand.
 */
unsigned int battery_level_pptt(unsigned int batt_mV,
				const struct battery_level_point *curve);

static const struct battery_level_point levels[] = {
	{ 10000, 4050 },
	{ 625, 3200 },
	{ 0, 3100 },
};

/** Reads battery voltage.
 *
 * @param batt a measured battery voltage level.
 *
 * @return the measured battery voltage level in batt.
 */
int read_battery(int *batt);

#endif /* APPLICATION_BATTERY_H_ */
```

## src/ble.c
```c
/*
 *
 * SPDX-License-Identifier: LicenseRef-Nordic-5-Clause
 */

#include <zephyr/kernel.h>
#include <zephyr/bluetooth/bluetooth.h>
#include <zephyr/bluetooth/uuid.h>
#include <zephyr/bluetooth/gatt.h>
#include <zephyr/bluetooth/hci.h>
#include <app/bluetooth/services/nus.h>
#include <app/shell/shell_bt_nus.h>
#include <stdio.h>

#define LOG_LEVEL CONFIG_LOG_DEFAULT_LEVEL
#include <zephyr/logging/log.h>
LOG_MODULE_REGISTER(hellium_mapper_ble);

#define DEVICE_NAME             CONFIG_BT_DEVICE_NAME
#define DEVICE_NAME_LEN	        (sizeof(DEVICE_NAME) - 1)

static struct bt_conn *current_conn;

static const struct bt_data ad[] = {
	BT_DATA_BYTES(BT_DATA_FLAGS, (BT_LE_AD_GENERAL | BT_LE_AD_NO_BREDR)),
	BT_DATA(BT_DATA_NAME_COMPLETE, DEVICE_NAME, DEVICE_NAME_LEN),
};

static const struct bt_data sd[] = {
	BT_DATA_BYTES(BT_DATA_UUID128_ALL, BT_UUID_NUS_VAL),
};

static void connected(struct bt_conn *conn, uint8_t err)
{
	if (err) {
		LOG_ERR("Connection failed (err %u)", err);
		return;
	}

	LOG_INF("Connected");
	current_conn = bt_conn_ref(conn);
#if IS_ENABLED(CONFIG_SHELL)
	shell_bt_nus_enable(conn);
#endif

#if defined(CONFIG_BT_SMP)
	int ret;
	ret = bt_conn_set_security(current_conn, BT_SECURITY_L4);
	if (ret) {
		LOG_ERR("Starting encryption procedure failed (%d)", ret);
	}
#endif
}

static void disconnected(struct bt_conn *conn, uint8_t reason)
{
	int err;

	LOG_INF("Disconnected (reason %u)", reason);

#if IS_ENABLED(CONFIG_SHELL)
	shell_bt_nus_disable();
#endif
	if (current_conn) {
		bt_conn_unref(current_conn);
		current_conn = NULL;
	}

	err = bt_le_adv_start(BT_LE_ADV_CONN_FAST_2, ad, ARRAY_SIZE(ad), sd,
			      ARRAY_SIZE(sd));
	if (err) {
		LOG_ERR("Advertising failed to start (err %d)", err);
		return;
	}

	LOG_INF("Advertising started.");
}

static void __attribute__((unused)) security_changed(struct bt_conn *conn,
						     bt_security_t level,
						     enum bt_security_err err)
{
	char addr[BT_ADDR_LE_STR_LEN];

	bt_addr_le_to_str(bt_conn_get_dst(conn), addr, sizeof(addr));

	if (!err) {
		LOG_INF("Security changed: %s level %u", addr, level);
	} else {
		LOG_INF("Security failed: %s level %u err %d", addr, level,
			err);
	}
}

static struct bt_conn_cb conn_callbacks = {
	.connected    = connected,
	.disconnected = disconnected,
	COND_CODE_1(CONFIG_BT_SMP,
		    (.security_changed = security_changed), ())
};

#if defined(CONFIG_BT_SMP)
static void auth_passkey_display(struct bt_conn *conn, unsigned int passkey)
{
	char addr[BT_ADDR_LE_STR_LEN];

	bt_addr_le_to_str(bt_conn_get_dst(conn), addr, sizeof(addr));
	LOG_INF("Passkey for %s: %06u", addr, passkey);
}

static void auth_passkey_confirm(struct bt_conn *conn, unsigned int passkey)
{
	char addr[BT_ADDR_LE_STR_LEN];
	char passkey_str[7];
	int err;

	bt_addr_le_to_str(bt_conn_get_dst(conn), addr, sizeof(addr));

	snprintk(passkey_str, 7, "%06u", passkey);

	LOG_INF("Confirm passkey for %s: %s", addr, passkey_str);

	err = bt_conn_auth_passkey_confirm(conn);
	if (err) {
		LOG_ERR("Confirm failed (err %d)", err);
	} else {
		LOG_INF("Confirmed!");
	}
}

static void auth_cancel(struct bt_conn *conn)
{
	char addr[BT_ADDR_LE_STR_LEN];

	bt_addr_le_to_str(bt_conn_get_dst(conn), addr, sizeof(addr));

	bt_conn_auth_cancel(conn);

	LOG_INF("Pairing cancelled: %s", addr);
}

static void auth_pairing_confirm(struct bt_conn *conn)
{
	char addr[BT_ADDR_LE_STR_LEN];
	int err;

	bt_addr_le_to_str(bt_conn_get_dst(conn), addr, sizeof(addr));

	LOG_INF("Confirm pairing for %s", addr);

	err = bt_conn_auth_passkey_confirm(conn);
	if (err) {
		LOG_ERR("Confirm failed (err %d)", err);
	} else {
		LOG_INF("Confirmed!");
	}
}

static void pairing_complete(struct bt_conn *conn, bool bonded)
{
	char addr[BT_ADDR_LE_STR_LEN];

	bt_addr_le_to_str(bt_conn_get_dst(conn), addr, sizeof(addr));
	LOG_INF("Pairing completed: %s, bonded: %d", addr, bonded);
}

static void pairing_failed(struct bt_conn *conn, enum bt_security_err reason)
{
	char addr[BT_ADDR_LE_STR_LEN];

	bt_addr_le_to_str(bt_conn_get_dst(conn), addr, sizeof(addr));
	LOG_INF("Pairing failed conn: %s, reason %d", addr, reason);
}

static struct bt_conn_auth_cb conn_auth_callbacks_yesno = {
	.passkey_display = auth_passkey_display,
	.passkey_entry   = NULL,
	.passkey_confirm = auth_passkey_confirm,
	.cancel          = auth_cancel,
	.pairing_confirm = auth_pairing_confirm
};

static struct bt_conn_auth_info_cb auth_info_cb = {
	.pairing_complete = pairing_complete,
	.pairing_failed = pairing_failed
};
#endif /* CONFIG_BT_SMP */

int init_ble(void)
{
	int err;

	LOG_INF("Starting Bluetooth NUS shell transport example");

	bt_conn_cb_register(&conn_callbacks);
	if (IS_ENABLED(CONFIG_BT_SMP)) {
		bt_conn_auth_cb_register(&conn_auth_callbacks_yesno);
		bt_conn_auth_info_cb_register(&auth_info_cb);
	}

	err = bt_enable(NULL);
	if (err) {
		LOG_ERR("BLE enable failed (err: %d)", err);
		return err;
	}

#if IS_ENABLED(CONFIG_SHELL)
	err = shell_bt_nus_init();
	if (err) {
		LOG_ERR("Failed to initialize BT NUS shell (err: %d)", err);
		return err;
	}
#endif

	err = bt_le_adv_start(BT_LE_ADV_CONN_FAST_2, ad, ARRAY_SIZE(ad), sd,
			      ARRAY_SIZE(sd));
	if (err) {
		LOG_ERR("Advertising failed to start (err %d)", err);
		return err;
	}

	LOG_INF("Bluetooth ready. Advertising started.");

	return 0;
}
```

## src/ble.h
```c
/*
 *
 * SPDX-License-Identifier: Apache-2.0
 */

#ifndef __HELIUM_MAPPER_BLE_H__
#define __HELIUM_MAPPER_BLE_H__

int init_ble(void);

#endif /* __HELIUM_MAPPER_BLE_H__ */
```

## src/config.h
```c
/*
 * SPDX-License-Identifier: Apache-2.0
 */

#ifndef _APP_CONFIG_H_
#define _APP_CONFIG_H_

#include <stdio.h>
#include <stdbool.h>
#include <string.h>
#include <time.h>
#include <zephyr/sys/util.h>

#define PAYLOAD_KEY_SIZE 128/8
#define DEFAULT_PASSWORD "zephyr"
#define PASSWORD_MAX_SIZE 11

struct s_config
{
	/* OTAA Device EUI MSB */
	char dev_eui[8];
	/* OTAA Application EUI MSB */
	uint8_t app_eui[8];
	/* OTAA Application Key MSB */
	uint8_t app_key[16];
	/* LoRaWAN activation mode */
	uint8_t lora_mode;
	/* Data rate (depnends on Region) */
	uint8_t data_rate;
	/* LoRaWAN class */
	uint8_t lora_class;
	/* Type of messages: confirmed or un-confirmed */
	uint8_t confirmed_msg;
	/* Data port to send data */
	uint8_t app_port;
	/* Flag if node joins automatically after reboot */
	bool auto_join;
	/* Send repeat time in seconds */
	uint32_t send_repeat_time;
	/* Min delay time for sensors in seconds */
	uint32_t send_min_delay;
	/* Max GPS on time in seconds */
	uint32_t max_gps_on_time;
	/* Max attempt to join network */
	uint8_t join_try_count;
	/* Max LoraWAN join sessions retry count before reboot */
	uint16_t max_join_retry_sessions_count;
	/* Max LoraWAN join window interval in seconds */
	uint32_t join_try_interval;
	/* Max time window of no ack'd msg received before re-join in seconds */
	uint32_t max_inactive_time_window;
	/* Number of failed message before re-join */
	uint32_t max_failed_msg;
#if IS_ENABLED(CONFIG_PAYLOAD_ENCRYPTION)
	/* AES128 key for encrypting the payload. */
	uint8_t payload_key[PAYLOAD_KEY_SIZE];
#endif
#if IS_ENABLED(CONFIG_SHELL_START_OBSCURED)
	char passwd[PASSWORD_MAX_SIZE];
#endif
};

struct s_mapper_data
{
	int32_t lat;
	int32_t lng;
	int16_t alt;
	uint16_t accuracy;
	uint16_t battery;
	uint8_t fix;
	uint8_t satellites;
} __packed;

enum init_error_t {
	BOOT_COMPLETE,
	ERROR_CONFIG,
	ERROR_BLE,
	ERROR_ACCEL,
	ERROR_ACCEL_TRIGGER,
	ERROR_GPS,
	ERROR_GPS_TRIGGER,
	ERROR_USB,
	ERROR_SHELL,
	ERROR_ENCRYPTION,
	ERROR_LORA,
};

struct s_status {
	enum init_error_t boot_status;
	bool joined;
	bool delayed_active;
	bool gps_pwr_on;
	bool gps_fix;
	time_t last_pos_send;
	time_t last_pos_send_ok;
	time_t last_accel_event;
	uint32_t msgs_sent;
	uint32_t msgs_failed;
	uint32_t msgs_failed_total;
	uint64_t gps_total_on_time;
	uint32_t acc_events;
	uint16_t join_retry_sessions_count;
};

struct s_config *get_config(void);
uint8_t config_get_app_port(void);
uint8_t *config_get_dev_eui(void);
uint8_t *config_get_app_eui(void);
uint8_t *config_get_app_key(void);
bool config_get_auto_join(void);
void config_set_auto_join(bool state);
uint8_t config_get_data_rate(void);
void config_set_data_rate(uint8_t rate);
uint8_t config_get_confirmed_msg(void);
void config_set_confirmed_msg(uint8_t type);
uint32_t config_get_max_inactive_time_window(void);
uint32_t config_get_max_failed_msg(void);
uint32_t config_get_join_try_interval(void);
uint8_t config_get_join_try_count(void);
uint8_t config_get_lora_mode(void);
uint32_t config_get_max_gps_on_time(void);
void config_set_max_gps_on_time(uint32_t time);
uint32_t config_get_send_repeat_time(void);
void config_set_send_repeat_time(uint32_t time);
uint32_t config_get_send_min_delay(void);
void config_set_send_min_delay(uint32_t time);
uint16_t config_get_max_join_retry_sessions_count(void);
#if IS_ENABLED(CONFIG_PAYLOAD_ENCRYPTION)
uint8_t *config_get_payload_key(void);
#endif
char *config_get_password(void);
void config_set_password(char *password);
enum init_error_t status_get_boot_status(void);
void status_set_boot_status(enum init_error_t err_num);
char const *init_error_to_string(enum init_error_t err_num);
bool status_is_joined(void);
void status_set_joined(bool state);
bool status_get_gps_pwr_on(void);
void status_set_gps_pwr_on(bool state);
bool status_get_gps_fix(void);
void status_set_gps_fix(bool state);
uint64_t status_get_gps_total_on_time(void);
void status_set_gps_total_on_time(uint64_t time);
bool status_get_delayed_active(void);
void status_set_delayed_active(bool state);
uint32_t status_get_acc_events(void);
void status_inc_acc_events(void);
time_t status_get_last_accel_event(void);
void status_set_last_accel_event(time_t last_accel_time);
time_t status_get_last_pos_send(void);
void status_set_last_pos_send(time_t last_pos_send);
time_t status_get_last_pos_send_ok(void);
void status_set_last_pos_send_ok(time_t last_pos_send_ok);
uint16_t status_get_join_retry_sessions_count(void);
void status_set_join_retry_sessions_count(uint16_t count);
uint32_t status_get_msgs_sent(void);
void status_set_msgs_sent(uint32_t msgs);
uint32_t status_get_msgs_failed(void);
void status_set_msgs_failed(uint32_t msgs);
uint32_t status_get_msgs_failed_total(void);
void status_set_msgs_failed_total(uint32_t msgs);

#endif /* _APP_CONFIG_H_ */
```
